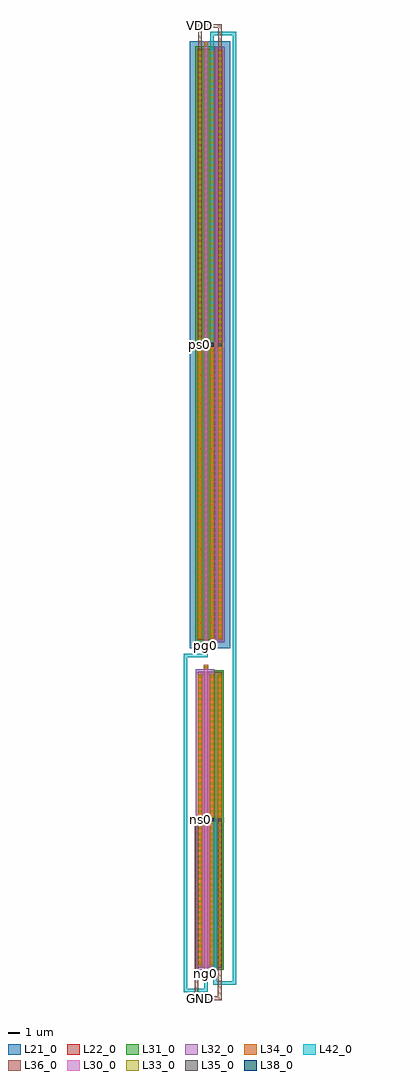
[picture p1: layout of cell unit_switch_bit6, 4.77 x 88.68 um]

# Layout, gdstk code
import gdstk
lib = gdstk.Library(unit=1e-6, precision=1e-09)
def R(c, l, rs):  # rectangles x0, y0, x1, y1
    for r in rs: c.add(gdstk.rectangle(r[:2], r[2:], *l))
def A(c, l, x, y, w, h, nx, ny, dx, dy):  # array of equal rectangles
    R(c, l, [(x+i*dx, y+j*dy, x+i*dx+w, y+j*dy+h) for i in range(nx) for j in range(ny)])
L21_0 = (21, 0)
L22_0 = (22, 0)
L30_0 = (30, 0)
L31_0 = (31, 0)
L32_0 = (32, 0)
L33_0 = (33, 0)
L34_0 = (34, 0)
L35_0 = (35, 0)
L36_0 = (36, 0)
L38_0 = (38, 0)
L42_0 = (42, 0)

unit_switch_bit6 = lib.new_cell('unit_switch_bit6')
R(unit_switch_bit6, L21_0, [(-1.15,-0.69,2.54,54.45)])
R(unit_switch_bit6, L22_0, [(-0.42,-29.74,0,-2.86), (0,-29.74,0.66,-2.86), (0.66,-29.74,1.08,-2.86), (1.08,-29.74,1.79,-2.86), (-0.46,0,0,53.76), (0,0,0.66,53.76), (0.66,0,1.12,53.76), (1.12,0,1.85,53.76)])
R(unit_switch_bit6, L30_0, [(0.15,-30.4,0.51,-30.04), (0.19,-30.04,0.47,-2.56), (0.15,-2.56,0.51,-2.2), (0.14,-0.68,0.52,-0.3), (0.19,-0.3,0.47,54.06), (0.14,54.06,0.52,54.44)])
R(unit_switch_bit6, L31_0, [(1.08,-29.91,1.96,-2.69), (-0.63,-0.24,1.12,54)])
R(unit_switch_bit6, L32_0, [(-0.59,-29.98,1.08,-2.62), (1.12,-0.17,2.02,53.93)])
A(unit_switch_bit6, L33_0, -0.32, -29.415, 0.22, 0.22, 1, 52, 0, 0.51)
A(unit_switch_bit6, L33_0, 0.76, -29.415, 0.22, 0.22, 1, 52, 0, 0.51)
A(unit_switch_bit6, L33_0, 1.47, -29.415, 0.22, 0.22, 1, 52, 0, 0.51)
A(unit_switch_bit6, L33_0, -0.34, 0.25, 0.22, 0.22, 1, 105, 0, 0.51)
A(unit_switch_bit6, L33_0, 0.78, 0.25, 0.22, 0.22, 1, 105, 0, 0.51)
A(unit_switch_bit6, L33_0, 1.51, 0.25, 0.22, 0.22, 1, 105, 0, 0.51)
R(unit_switch_bit6, L33_0, [(0.22,-30.33,0.44,-30.11), (0.22,-2.49,0.44,-2.27), (0.22,-0.6,0.44,-0.38), (0.22,54.14,0.44,54.36)])
R(unit_switch_bit6, L34_0, [(0.1,-30.45,0.56,-29.99), (0.14,-30.41,0.52,-30.03), (-0.4,-29.495,-0.02,-3.105), (0.68,-29.495,1.06,-3.105), (1.39,-29.495,1.77,-3.105), (-0.44,-16.53,0.02,-16.07), (0.64,-16.53,1.1,-16.07), (1.35,-16.53,1.81,-16.07), (0.14,-2.57,0.52,-2.19), (0.1,-0.72,0.56,-0.26), (0.14,-0.68,0.52,-0.3), (-0.42,0.17,-0.04,53.59), (0.7,0.17,1.08,53.59), (1.43,0.17,1.81,53.59), (-0.46,26.65,0,27.11), (0.66,26.65,1.12,27.11), (1.39,26.65,1.85,27.11), (0.14,54.06,0.52,54.44)])
R(unit_switch_bit6, L35_0, [(0.2,-30.35,0.46,-30.09), (-0.34,-16.43,-0.08,-16.17), (0.74,-16.43,1,-16.17), (1.45,-16.43,1.71,-16.17), (0.2,-0.62,0.46,-0.36), (-0.36,26.75,-0.1,27.01), (0.76,26.75,1.02,27.01), (1.49,26.75,1.75,27.01)])
R(unit_switch_bit6, L36_0, [(-0.67,-32.67,-0.05,-32.35), (-0.67,-32.67,-0.35,-16.14), (-0.37,-32.67,1.74,-32.35), (1.42,-32.67,1.74,-16.14), (0.135,-30.415,0.525,-30.025), (-0.405,-16.495,-0.015,-16.105), (0.675,-16.495,1.065,-16.105), (1.385,-16.495,1.775,-16.105), (-0.67,-16.46,-0.05,-16.14), (0.135,-0.685,0.525,-0.295), (-0.425,26.685,-0.035,27.075), (0.695,26.685,1.085,27.075), (1.425,26.685,1.815,27.075), (-0.39,26.72,-0.07,56.01), (1.46,26.72,1.78,56.01), (-0.39,55.69,-0.07,56.01), (-0.39,55.69,1.78,56.01)])
R(unit_switch_bit6, L38_0, [(0.2,-30.35,0.46,-30.09), (0.74,-16.43,1,-16.17), (0.2,-0.62,0.46,-0.36), (0.76,26.75,1.02,27.01)])
R(unit_switch_bit6, L42_0, [(-1.69,-31.97,0.49,-31.65), (-1.69,-31.97,-1.37,-1.23), (0.17,-31.97,0.49,-30.06), (1.01,-31.27,1.33,-16.14), (1.01,-31.27,3.08,-30.95), (2.76,-31.27,3.08,55.31), (0.135,-30.415,0.525,-30.025), (0.675,-16.495,1.065,-16.105), (0.71,-16.46,1.33,-16.14), (-1.69,-1.55,0.49,-1.23), (0.17,-1.55,0.49,-0.33), (0.135,-0.685,0.525,-0.295), (0.695,26.685,1.085,27.075), (0.73,26.72,1.05,55.31), (0.73,54.99,3.08,55.31)])
unit_switch_bit6.add(gdstk.Label('ps0', (-0.23,26.88), layer=34, texttype=10))
unit_switch_bit6.add(gdstk.Label('pd0', (0.89,26.88), layer=34, texttype=10))
unit_switch_bit6.add(gdstk.Label('pg0', (0.33,-0.49), layer=34, texttype=10))
unit_switch_bit6.add(gdstk.Label('pvdd0', (1.62,26.88), layer=34, texttype=10))
unit_switch_bit6.add(gdstk.Label('ns0', (-0.21,-16.301), layer=34, texttype=10))
unit_switch_bit6.add(gdstk.Label('nd0', (0.87,-16.301), layer=34, texttype=10))
unit_switch_bit6.add(gdstk.Label('ng0', (0.33,-30.221), layer=34, texttype=10))
unit_switch_bit6.add(gdstk.Label('ngnd0', (1.58,-16.301), layer=34, texttype=10))
unit_switch_bit6.add(gdstk.Label('VDD', (-0.23,55.85), layer=34, texttype=10))
unit_switch_bit6.add(gdstk.Label('GND', (-0.21,-32.512), layer=34, texttype=10))
unit_switch_bit6.add(gdstk.Label('VOUT', (2.92,-31.112), layer=34, texttype=10))
unit_switch_bit6.add(gdstk.Label('bN_bar', (-1.53,-31.812), layer=34, texttype=10))

lib.write_gds('unit_switch_bit6.gds')
